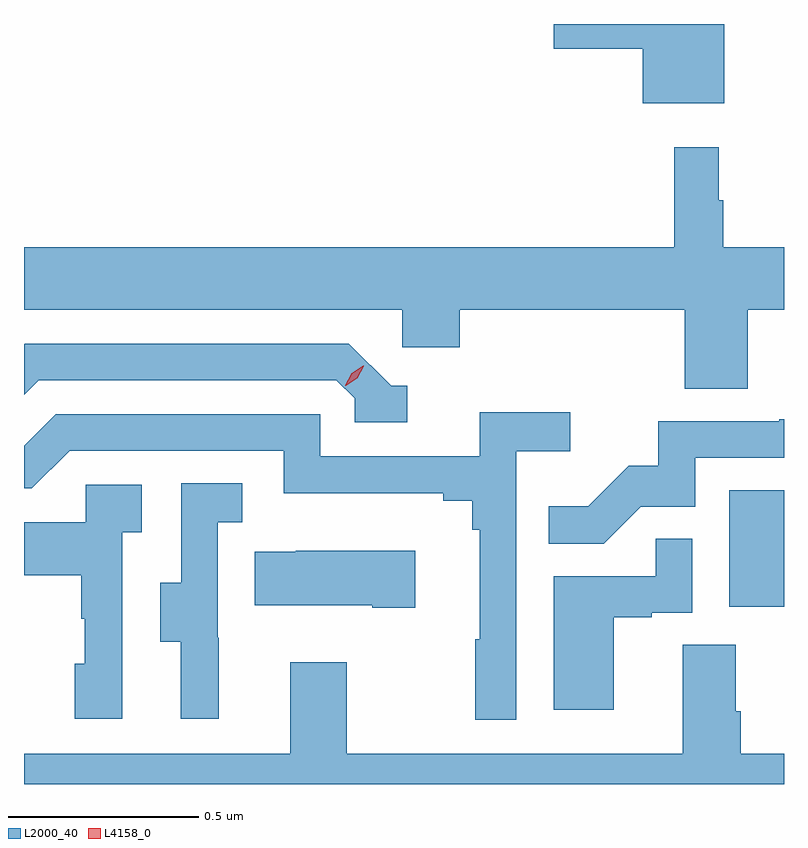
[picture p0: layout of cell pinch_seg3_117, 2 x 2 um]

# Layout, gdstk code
import gdstk
lib = gdstk.Library(unit=1e-6, precision=1e-09)
def R(c, l, rs):  # rectangles x0, y0, x1, y1
    for r in rs: c.add(gdstk.rectangle(r[:2], r[2:], *l))
def P(c, l, *ps):  # polygons
    for p in ps: c.add(gdstk.Polygon(p, *l))
L2000_40 = (2000, 40)
L4158_0 = (4158, 0)

pinch_seg3_117 = lib.new_cell('pinch_seg3_117')
R(pinch_seg3_117, L2000_40, [(1032.716,713.454,1032.86,713.761)])
P(pinch_seg3_117, L2000_40, [(1032.703,714.988),(1032.254,714.988),(1032.254,714.923),(1032.488,714.923),(1032.488,714.779),(1032.703,714.779)],
  [(1032.764,714.236),(1032.86,714.236),(1032.86,714.4),(1032.7,714.4),(1032.7,714.524),(1032.688,714.524),(1032.688,714.664),(1032.571,714.664),(1032.571,714.4),(1030.86,714.4),(1030.86,714.236),(1031.856,714.236),(1031.856,714.138),(1032.007,714.138),(1032.007,714.236),(1032.599,714.236),(1032.599,714.028),(1032.764,714.028)],
  [(1031.869,714.036),(1031.826,714.036),(1031.715,714.147),(1030.862,714.147),(1030.86,714.145),(1030.86,714.012),(1030.899,714.051),(1031.682,714.051),(1031.73,714.003),(1031.73,713.94),(1031.869,713.94)],
  [(1032.156,713.864),(1032.298,713.864),(1032.298,713.966),(1032.059,713.966),(1032.059,713.85),(1031.64,713.85),(1031.64,713.961),(1030.943,713.961),(1030.86,713.878),(1030.86,713.766),(1030.881,713.766),(1030.98,713.865),(1031.544,713.865),(1031.544,713.753),(1031.963,713.753),(1031.963,713.734),(1032.04,713.734),(1032.04,713.657),(1032.059,713.657),(1032.059,713.369),(1032.048,713.369),(1032.048,713.157),(1032.156,713.157)],
  [(1032.483,713.718),(1032.627,713.718),(1032.627,713.847),(1032.86,713.847),(1032.86,713.948),(1032.847,713.948),(1032.847,713.943),(1032.529,713.943),(1032.529,713.826),(1032.452,713.826),(1032.345,713.719),(1032.241,713.719),(1032.241,713.62),(1032.385,713.62)],
  [(1031.372,713.373),(1031.37,713.373),(1031.37,713.677),(1031.434,713.677),(1031.434,713.78),(1031.274,713.78),(1031.274,713.517),(1031.219,713.517),(1031.219,713.362),(1031.273,713.362),(1031.273,713.16),(1031.372,713.16)],
  [(1031.118,713.651),(1031.17,713.651),(1031.17,713.775),(1031.022,713.775),(1031.022,713.677),(1030.86,713.677),(1030.86,713.537),(1031.01,713.537),(1031.01,713.423),(1031.02,713.423),(1031.02,713.304),(1030.994,713.304),(1030.994,713.16),(1031.118,713.16)],
  [(1032.412,713.427),(1032.512,713.427),(1032.512,713.439),(1032.618,713.439),(1032.618,713.633),(1032.523,713.633),(1032.523,713.535),(1032.254,713.535),(1032.254,713.184),(1032.412,713.184)],
  [(1031.89,713.602),(1031.575,713.602),(1031.575,713.599),(1031.467,713.599),(1031.467,713.459),(1031.777,713.459),(1031.777,713.452),(1031.89,713.452)],
  [(1032.86,713.068),(1032.746,713.068),(1032.746,713.18),(1032.733,713.18),(1032.733,713.354),(1032.593,713.354),(1032.593,713.068),(1031.709,713.068),(1031.709,713.308),(1031.561,713.308),(1031.561,713.068),(1030.86,713.068),(1030.86,712.988),(1032.86,712.988)])
P(pinch_seg3_117, L4158_0, [(1031.706,714.036),(1031.706,714.037),(1031.723,714.069),(1031.753,714.089),(1031.754,714.089),(1031.754,714.088),(1031.737,714.056),(1031.707,714.036)])

lib.write_gds('pinch_seg3_117.gds')
